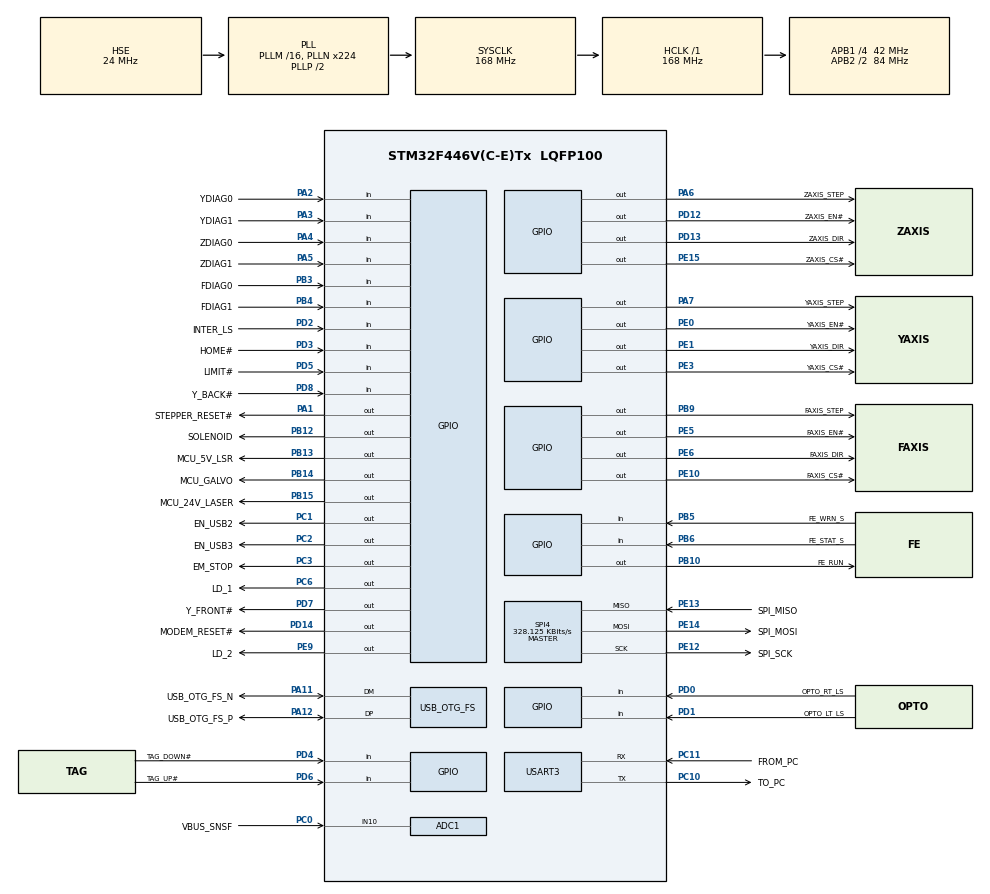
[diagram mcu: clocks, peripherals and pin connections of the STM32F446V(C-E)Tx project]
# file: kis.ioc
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ADC1.Channel-0\#ChannelRegularConversion=ADC_CHANNEL_10
ADC1.Channel-1\#ChannelRegularConversion=ADC_CHANNEL_10
ADC1.Channel-10\#ChannelRegularConversion=ADC_CHANNEL_10
ADC1.Channel-11\#ChannelRegularConversion=ADC_CHANNEL_10
ADC1.Channel-12\#ChannelRegularConversion=ADC_CHANNEL_10
ADC1.Channel-13\#ChannelRegularConversion=ADC_CHANNEL_TEMPSENSOR
ADC1.Channel-14\#ChannelRegularConversion=ADC_CHANNEL_VREFINT
ADC1.Channel-2\#ChannelRegularConversion=ADC_CHANNEL_TEMPSENSOR
ADC1.Channel-3\#ChannelRegularConversion=ADC_CHANNEL_TEMPSENSOR
ADC1.Channel-4\#ChannelRegularConversion=ADC_CHANNEL_VREFINT
ADC1.Channel-5\#ChannelRegularConversion=ADC_CHANNEL_10
ADC1.Channel-6\#ChannelRegularConversion=ADC_CHANNEL_10
ADC1.Channel-7\#ChannelRegularConversion=ADC_CHANNEL_10
ADC1.Channel-8\#ChannelRegularConversion=ADC_CHANNEL_TEMPSENSOR
ADC1.Channel-9\#ChannelRegularConversion=ADC_CHANNEL_VREFINT
ADC1.ClockPrescaler=ADC_CLOCK_SYNC_PCLK_DIV8
ADC1.ContinuousConvMode=ENABLE
ADC1.DMAContinuousRequests=ENABLE
ADC1.EOCSelection=ADC_EOC_SEQ_CONV
ADC1.NbrOfConversion=15
ADC1.NbrOfConversionFlag=1
ADC1.Rank-0\#ChannelRegularConversion=1
ADC1.Rank-1\#ChannelRegularConversion=2
ADC1.Rank-10\#ChannelRegularConversion=11
ADC1.Rank-11\#ChannelRegularConversion=12
ADC1.Rank-12\#ChannelRegularConversion=13
ADC1.Rank-13\#ChannelRegularConversion=14
ADC1.Rank-14\#ChannelRegularConversion=15
ADC1.Rank-2\#ChannelRegularConversion=3
ADC1.Rank-3\#ChannelRegularConversion=4
ADC1.Rank-4\#ChannelRegularConversion=5
ADC1.Rank-5\#ChannelRegularConversion=6
ADC1.Rank-6\#ChannelRegularConversion=7
ADC1.Rank-7\#ChannelRegularConversion=8
ADC1.Rank-8\#ChannelRegularConversion=9
ADC1.Rank-9\#ChannelRegularConversion=10
ADC1.SamplingTime-0\#ChannelRegularConversion=ADC_SAMPLETIME_480CYCLES
ADC1.SamplingTime-1\#ChannelRegularConversion=ADC_SAMPLETIME_480CYCLES
ADC1.SamplingTime-10\#ChannelRegularConversion=ADC_SAMPLETIME_480CYCLES
ADC1.SamplingTime-11\#ChannelRegularConversion=ADC_SAMPLETIME_480CYCLES
ADC1.SamplingTime-12\#ChannelRegularConversion=ADC_SAMPLETIME_480CYCLES
ADC1.SamplingTime-13\#ChannelRegularConversion=ADC_SAMPLETIME_480CYCLES
ADC1.SamplingTime-14\#ChannelRegularConversion=ADC_SAMPLETIME_480CYCLES
ADC1.SamplingTime-2\#ChannelRegularConversion=ADC_SAMPLETIME_480CYCLES
ADC1.SamplingTime-3\#ChannelRegularConversion=ADC_SAMPLETIME_480CYCLES
ADC1.SamplingTime-4\#ChannelRegularConversion=ADC_SAMPLETIME_480CYCLES
ADC1.SamplingTime-5\#ChannelRegularConversion=ADC_SAMPLETIME_480CYCLES
ADC1.SamplingTime-6\#ChannelRegularConversion=ADC_SAMPLETIME_480CYCLES
ADC1.SamplingTime-7\#ChannelRegularConversion=ADC_SAMPLETIME_480CYCLES
ADC1.SamplingTime-8\#ChannelRegularConversion=ADC_SAMPLETIME_480CYCLES
ADC1.SamplingTime-9\#ChannelRegularConversion=ADC_SAMPLETIME_480CYCLES
ADC1.ScanConvMode=ENABLE
ADC1.master=1
Dma.ADC1.2.Direction=DMA_PERIPH_TO_MEMORY
Dma.ADC1.2.FIFOMode=DMA_FIFOMODE_ENABLE
Dma.ADC1.2.FIFOThreshold=DMA_FIFO_THRESHOLD_FULL
Dma.ADC1.2.Instance=DMA2_Stream4
Dma.ADC1.2.MemBurst=DMA_MBURST_SINGLE
Dma.ADC1.2.MemDataAlignment=DMA_MDATAALIGN_HALFWORD
Dma.ADC1.2.MemInc=DMA_MINC_ENABLE
Dma.ADC1.2.Mode=DMA_CIRCULAR
Dma.ADC1.2.PeriphBurst=DMA_PBURST_SINGLE
Dma.ADC1.2.PeriphDataAlignment=DMA_PDATAALIGN_HALFWORD
Dma.ADC1.2.PeriphInc=DMA_PINC_DISABLE
Dma.ADC1.2.Priority=DMA_PRIORITY_VERY_HIGH
Dma.Request0=USART3_RX
Dma.Request1=USART3_TX
Dma.Request2=ADC1
Dma.Request3=SPI4_RX
Dma.Request4=SPI4_TX
Dma.SPI4_RX.3.Direction=DMA_PERIPH_TO_MEMORY
Dma.SPI4_RX.3.FIFOMode=DMA_FIFOMODE_ENABLE
Dma.SPI4_RX.3.FIFOThreshold=DMA_FIFO_THRESHOLD_FULL
Dma.SPI4_RX.3.Instance=DMA2_Stream0
Dma.SPI4_RX.3.MemBurst=DMA_MBURST_SINGLE
Dma.SPI4_RX.3.MemDataAlignment=DMA_MDATAALIGN_BYTE
Dma.SPI4_RX.3.MemInc=DMA_MINC_ENABLE
Dma.SPI4_RX.3.Mode=DMA_NORMAL
Dma.SPI4_RX.3.PeriphBurst=DMA_PBURST_SINGLE
Dma.SPI4_RX.3.PeriphDataAlignment=DMA_PDATAALIGN_BYTE
Dma.SPI4_RX.3.PeriphInc=DMA_PINC_DISABLE
Dma.SPI4_RX.3.Priority=DMA_PRIORITY_LOW
Dma.SPI4_TX.4.Direction=DMA_MEMORY_TO_PERIPH
Dma.SPI4_TX.4.FIFOMode=DMA_FIFOMODE_DISABLE
Dma.SPI4_TX.4.Instance=DMA2_Stream1
Dma.SPI4_TX.4.MemDataAlignment=DMA_MDATAALIGN_BYTE
Dma.SPI4_TX.4.MemInc=DMA_MINC_ENABLE
Dma.SPI4_TX.4.Mode=DMA_NORMAL
Dma.SPI4_TX.4.PeriphDataAlignment=DMA_PDATAALIGN_BYTE
Dma.SPI4_TX.4.PeriphInc=DMA_PINC_DISABLE
Dma.SPI4_TX.4.Priority=DMA_PRIORITY_LOW
Dma.USART3_RX.0.Direction=DMA_PERIPH_TO_MEMORY
Dma.USART3_RX.0.FIFOMode=DMA_FIFOMODE_DISABLE
Dma.USART3_RX.0.Instance=DMA1_Stream1
Dma.USART3_RX.0.MemDataAlignment=DMA_MDATAALIGN_BYTE
Dma.USART3_RX.0.MemInc=DMA_MINC_ENABLE
Dma.USART3_RX.0.Mode=DMA_NORMAL
Dma.USART3_RX.0.PeriphDataAlignment=DMA_PDATAALIGN_BYTE
Dma.USART3_RX.0.PeriphInc=DMA_PINC_DISABLE
Dma.USART3_RX.0.Priority=DMA_PRIORITY_LOW
Dma.USART3_TX.1.Direction=DMA_MEMORY_TO_PERIPH
Dma.USART3_TX.1.FIFOMode=DMA_FIFOMODE_DISABLE
Dma.USART3_TX.1.Instance=DMA1_Stream3
Dma.USART3_TX.1.MemDataAlignment=DMA_MDATAALIGN_BYTE
Dma.USART3_TX.1.MemInc=DMA_MINC_ENABLE
Dma.USART3_TX.1.Mode=DMA_NORMAL
Dma.USART3_TX.1.PeriphDataAlignment=DMA_PDATAALIGN_BYTE
Dma.USART3_TX.1.PeriphInc=DMA_PINC_DISABLE
Dma.USART3_TX.1.Priority=DMA_PRIORITY_LOW
Mcu.Family=STM32F4
Mcu.Name=STM32F446V(C-E)Tx
Mcu.Package=LQFP100
NVIC.DMA1_Stream1_IRQn=true\:3\:0\:true\:false\:true\:false\:true\:true
NVIC.DMA1_Stream3_IRQn=true\:3\:0\:true\:false\:true\:false\:true\:true
NVIC.DMA2_Stream0_IRQn=true\:0\:0\:true\:false\:true\:false\:true\:true
NVIC.DMA2_Stream1_IRQn=true\:0\:0\:false\:false\:true\:false\:true\:true
NVIC.DMA2_Stream4_IRQn=true\:8\:0\:false\:false\:true\:false\:true\:true
NVIC.OTG_FS_IRQn=true\:8\:0\:true\:false\:true\:false\:true\:true
NVIC.PriorityGroup=NVIC_PRIORITYGROUP_4
NVIC.SPI4_IRQn=true\:8\:0\:true\:false\:true\:true\:true\:true
NVIC.TIM6_DAC_IRQn=true\:0\:0\:false\:false\:true\:true\:true\:true
NVIC.USART3_IRQn=true\:3\:0\:true\:false\:true\:true\:true\:true
PA1.GPIO_Label=STEPPER_RESET\#
PA1.PinState=GPIO_PIN_SET
PA1.Signal=GPIO_Output
PA11.GPIO_Label=USB_OTG_FS_N
PA11.GPIO_Speed=GPIO_SPEED_FREQ_HIGH
PA11.Mode=Device_Only
PA11.Signal=USB_OTG_FS_DM
PA12.GPIO_Label=USB_OTG_FS_P
PA12.GPIO_Speed=GPIO_SPEED_FREQ_HIGH
PA12.Mode=Device_Only
PA12.Signal=USB_OTG_FS_DP
PA13.GPIO_Label=SWDIO
PA13.Mode=Serial_Wire
PA13.Signal=SYS_JTMS-SWDIO
PA14.GPIO_Label=SWCLK
PA14.Mode=Serial_Wire
PA14.Signal=SYS_JTCK-SWCLK
PA2.GPIO_Label=YDIAG0
PA2.GPIO_PuPd=GPIO_PULLUP
PA2.Signal=GPIO_Input
PA3.GPIO_Label=YDIAG1
PA3.GPIO_PuPd=GPIO_PULLUP
PA3.Signal=GPIO_Input
PA4.GPIO_Label=ZDIAG0
PA4.GPIO_PuPd=GPIO_PULLUP
PA4.Signal=GPIO_Input
PA5.GPIO_Label=ZDIAG1
PA5.GPIO_PuPd=GPIO_PULLUP
PA5.Signal=GPIO_Input
PA6.GPIO_Label=ZAXIS_STEP
PA6.Signal=GPIO_Output
PA7.GPIO_Label=YAXIS_STEP
PA7.Signal=GPIO_Output
PA9.GPIO_Label=USB_VBUS
PA9.Signal=USB_OTG_FS_VBUS
PB10.GPIO_Label=FE_RUN
PB10.Signal=GPIO_Output
PB12.GPIO_Label=SOLENOID
PB12.PinState=GPIO_PIN_SET
PB12.Signal=GPIO_Output
PB13.GPIO_Label=MCU_5V_LSR
PB13.PinState=GPIO_PIN_SET
PB13.Signal=GPIO_Output
PB14.GPIO_Label=MCU_GALVO
PB14.PinState=GPIO_PIN_SET
PB14.Signal=GPIO_Output
PB15.GPIO_Label=MCU_24V_LASER
PB15.PinState=GPIO_PIN_SET
PB15.Signal=GPIO_Output
PB3.GPIO_Label=FDIAG0
PB3.GPIO_PuPd=GPIO_PULLUP
PB3.Signal=GPIO_Input
PB4.GPIO_Label=FDIAG1
PB4.GPIO_PuPd=GPIO_PULLUP
PB4.Signal=GPIO_Input
PB5.GPIO_Label=FE_WRN_S
PB5.GPIO_PuPd=GPIO_PULLUP
PB5.Signal=GPIO_Input
PB6.GPIO_Label=FE_STAT_S
PB6.GPIO_PuPd=GPIO_PULLUP
PB6.Signal=GPIO_Input
PB9.GPIO_Label=FAXIS_STEP
PB9.Signal=GPIO_Output
PC0.GPIO_Label=VBUS_SNSF
PC0.Signal=ADCx_IN10
PC1.GPIO_Label=EN_USB2
PC1.PinState=GPIO_PIN_SET
PC1.Signal=GPIO_Output
PC10.GPIO_Label=TO_PC
PC10.GPIO_PuPd=GPIO_PULLUP
PC10.GPIO_Speed=GPIO_SPEED_FREQ_LOW
PC10.Mode=Asynchronous
PC10.Signal=USART3_TX
PC11.GPIO_Label=FROM_PC
PC11.GPIO_PuPd=GPIO_PULLUP
PC11.GPIO_Speed=GPIO_SPEED_FREQ_LOW
PC11.Mode=Asynchronous
PC11.Signal=USART3_RX
PC14-OSC32_IN.GPIO_Label=OSC32K_IN
PC14-OSC32_IN.Mode=LSE-External-Oscillator
PC14-OSC32_IN.Signal=RCC_OSC32_IN
PC15-OSC32_OUT.GPIO_Label=OSC32K_O
PC15-OSC32_OUT.Mode=LSE-External-Oscillator
PC15-OSC32_OUT.Signal=RCC_OSC32_OUT
PC2.GPIO_Label=EN_USB3
PC2.PinState=GPIO_PIN_SET
PC2.Signal=GPIO_Output
PC3.GPIO_Label=EM_STOP
PC3.PinState=GPIO_PIN_RESET
PC3.Signal=GPIO_Output
PC6.GPIO_Label=LD_1
PC6.Signal=GPIO_Output
PD0.GPIO_Label=OPTO_RT_LS
PD0.Signal=GPIO_Input
PD1.GPIO_Label=OPTO_LT_LS
PD1.Signal=GPIO_Input
PD12.GPIO_Label=ZAXIS_EN\#
PD12.PinState=GPIO_PIN_SET
PD12.Signal=GPIO_Output
PD13.GPIO_Label=ZAXIS_DIR
PD13.Signal=GPIO_Output
PD14.GPIO_Label=MODEM_RESET\#
PD14.PinState=GPIO_PIN_SET
PD14.Signal=GPIO_Output
PD2.GPIO_Label=INTER_LS
PD2.Signal=GPIO_Input
PD3.GPIO_Label=HOME\#
PD3.Signal=GPIO_Input
PD4.GPIO_Label=TAG_DOWN\#
PD4.Signal=GPIO_Input
PD5.GPIO_Label=LIMIT\#
PD5.Signal=GPIO_Input
PD6.GPIO_Label=TAG_UP\#
PD6.Signal=GPIO_Input
PD7.GPIO_Label=Y_FRONT\#
PD7.Signal=GPIO_Output
PD8.GPIO_Label=Y_BACK\#
PD8.Signal=GPIO_Input
PE0.GPIO_Label=YAXIS_EN\#
PE0.PinState=GPIO_PIN_SET
PE0.Signal=GPIO_Output
PE1.GPIO_Label=YAXIS_DIR
PE1.Signal=GPIO_Output
PE10.GPIO_Label=FAXIS_CS\#
PE10.PinState=GPIO_PIN_SET
PE10.Signal=GPIO_Output
PE12.GPIO_Label=SPI_SCK
PE12.GPIO_Speed=GPIO_SPEED_FREQ_MEDIUM
PE12.Mode=Full_Duplex_Master
PE12.Signal=SPI4_SCK
PE13.GPIO_Label=SPI_MISO
PE13.GPIO_Speed=GPIO_SPEED_FREQ_MEDIUM
PE13.Mode=Full_Duplex_Master
PE13.Signal=SPI4_MISO
PE14.GPIO_Label=SPI_MOSI
PE14.GPIO_Speed=GPIO_SPEED_FREQ_MEDIUM
PE14.Mode=Full_Duplex_Master
PE14.Signal=SPI4_MOSI
PE15.GPIO_Label=ZAXIS_CS\#
PE15.PinState=GPIO_PIN_SET
PE15.Signal=GPIO_Output
PE3.GPIO_Label=YAXIS_CS\#
PE3.PinState=GPIO_PIN_SET
PE3.Signal=GPIO_Output
PE5.GPIO_Label=FAXIS_EN\#
PE5.PinState=GPIO_PIN_SET
PE5.Signal=GPIO_Output
PE6.GPIO_Label=FAXIS_DIR
PE6.Signal=GPIO_Output
PE9.GPIO_Label=LD_2
PE9.Signal=GPIO_Output
PH0-OSC_IN.GPIO_Label=OSC24M_I
PH0-OSC_IN.Mode=HSE-External-Oscillator
PH0-OSC_IN.Signal=RCC_OSC_IN
PH1-OSC_OUT.GPIO_Label=OSC24M_O
PH1-OSC_OUT.Mode=HSE-External-Oscillator
PH1-OSC_OUT.Signal=RCC_OSC_OUT
ProjectManager.HeapSize=0x200
ProjectManager.StackSize=0x400
ProjectManager.TargetToolchain=STM32CubeIDE
RCC.AHBFreq_Value=168000000
RCC.APB1CLKDivider=RCC_HCLK_DIV4
RCC.APB1Freq_Value=42000000
RCC.APB1TimFreq_Value=84000000
RCC.APB2CLKDivider=RCC_HCLK_DIV2
RCC.APB2Freq_Value=84000000
RCC.APB2TimFreq_Value=168000000
RCC.CortexFreq_Value=168000000
RCC.HCLKFreq_Value=168000000
RCC.HSE_VALUE=24000000
RCC.PLLN=224
RCC.PLLQ=7
RCC.PLLSourceVirtual=RCC_PLLSOURCE_HSE
RCC.RCC_RTC_Clock_SourceVirtual=RCC_RTCCLKSOURCE_LSE
RCC.SYSCLKFreq_VALUE=168000000
RCC.SYSCLKSource=RCC_SYSCLKSOURCE_PLLCLK
RCC.USBFreq_Value=48000000
RCC.VCOOutputFreq_Value=336000000
RTC.Date=4
RTC.Month=RTC_MONTH_DECEMBER
RTC.Year=18
SH.ADCx_IN10.0=ADC1_IN10,IN10
SPI4.BaudRatePrescaler=SPI_BAUDRATEPRESCALER_256
SPI4.CLKPhase=SPI_PHASE_2EDGE
SPI4.CLKPolarity=SPI_POLARITY_HIGH
SPI4.CalculateBaudRate=328.125 KBits/s
SPI4.Direction=SPI_DIRECTION_2LINES
SPI4.Mode=SPI_MODE_MASTER
SPI4.VirtualType=VM_MASTER
TIM1.Period=104
TIM1.Prescaler=1
TIM10.Period=399
TIM10.Prescaler=83
TIM11.Period=4200
TIM11.Prescaler=168
TIM13.ClockDivision=TIM_CLOCKDIVISION_DIV1
TIM13.Period=4200
TIM13.Prescaler=168
TIM14.ClockDivision=TIM_CLOCKDIVISION_DIV1
TIM14.Period=4200
TIM14.Prescaler=168
TIM6.Period=79
TIM6.Prescaler=40
TIM7.Period=0xffff
TIM7.Prescaler=256
TIM8.Period=104
TIM8.Prescaler=1
USART3.VirtualMode=VM_ASYNC
USB_DEVICE.CLASS_NAME_FS=HID
USB_DEVICE.HID_FS_BINTERVAL=1
USB_DEVICE.PID_HID_FS=0x8002
USB_DEVICE.USBD_DEBUG_LEVEL-HID_FS=0
USB_DEVICE.USBD_LPM_ENABLED-HID_FS=0
USB_DEVICE.VID-HID_FS=0x1fc9
USB_DEVICE.VirtualMode-HID_FS=Hid
USB_DEVICE.VirtualModeFS=Hid_FS
USB_OTG_FS.Sof_enable=ENABLE
USB_OTG_FS.VirtualMode=Device_Only
VP_ADC1_TempSens_Input.Mode=IN-TempSens
VP_ADC1_Vref_Input.Mode=IN-Vrefint
VP_CRC_VS_CRC.Mode=CRC_Activate
VP_IWDG_VS_IWDG.Mode=IWDG_Activate
VP_RTC_VS_RTC_Activate.Mode=RTC_Enabled
VP_RTC_VS_RTC_Calendar.Mode=RTC_Calendar
VP_TIM10_VS_ClockSourceINT.Mode=Enable_Timer
VP_TIM11_VS_ClockSourceINT.Mode=Enable_Timer
VP_TIM13_VS_ClockSourceINT.Mode=Enable_Timer
VP_TIM14_VS_ClockSourceINT.Mode=Enable_Timer
VP_TIM1_VS_ClockSourceINT.Mode=Internal
VP_TIM6_VS_ClockSourceINT.Mode=Enable_Timer
VP_TIM7_VS_ClockSourceINT.Mode=Enable_Timer
VP_TIM8_VS_ClockSourceINT.Mode=Internal
VP_USB_DEVICE_VS_USB_DEVICE_HID_FS.Mode=HID_FS
board=custom

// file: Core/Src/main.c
/* USER CODE BEGIN Header */
/**
  ******************************************************************************
  * @file           : main.c
  * @brief          : Main program body
  ******************************************************************************
  * @attention
  *
  * Copyright (c) 2022 STMicroelectronics.
  * All rights reserved.
  *
  * This software is licensed under terms that can be found in the LICENSE file
  * in the root directory of this software component.
  * If no LICENSE file comes with this software, it is provided AS-IS.
  *
  ******************************************************************************
  */
/* USER CODE END Header */
#include "main.h"
#include "adc.h"
#include "crc.h"
#include "dma.h"
#include "iwdg.h"
#include "rtc.h"
#include "spi.h"
#include "tim.h"
#include "usart.h"
#include "usb_device.h"
#include "gpio.h"

#include "GPIOHandler.h"
#include "kisPackets.h"

/* USER CODE BEGIN Includes */
#include "loop.h"
/* USER CODE END Includes */

/* USER CODE BEGIN PV */
extern TIM_HandleTypeDef htim3;

/* USER CODE END PV */

void SystemClock_Config(void);

/* USER CODE BEGIN 0 */
void JumpToBootloader(void) {
    void (*SysMemBootJump)(void);

    /**
     * Step: Set system memory address.
     *
     *       For STM32F429, system memory is on 0x1FFF 0000
     *       For other families, check AN2606 document table 110 with descriptions of memory addresses
     */
    volatile uint32_t addr = 0x1FFF0000;

    /**
     * Step: Disable RCC, set it to default (after reset) settings
     *       Internal clock, no PLL, etc.
     */
    HAL_RCC_DeInit();
    HAL_DeInit(); // add by ctien

    /**
     * Step: Disable systick timer and reset it to default values
     */
    SysTick->CTRL = 0;
    SysTick->LOAD = 0;
    SysTick->VAL = 0;

    /**
     * Step: Disable all interrupts
     */
//    __disable_irq(); // changed by ctien

    /**
     * Step: Remap system memory to address 0x0000 0000 in address space
     *       For each family registers may be different.
     *       Check reference manual for each family.
     *
     *       For STM32F4xx, MEMRMP register in SYSCFG is used (bits[1:0])
     *       For STM32F0xx, CFGR1 register in SYSCFG is used (bits[1:0])
     *       For others, check family reference manual
     */
    //Remap by hand... {
#if defined(STM32F4)
    SYSCFG->MEMRMP = 0x01;
#endif
#if defined(STM32F0)
    SYSCFG->CFGR1 = 0x01;
#endif
    //} ...or if you use HAL drivers
    //__HAL_SYSCFG_REMAPMEMORY_SYSTEMFLASH();    //Call HAL macro to do this for you

    /**
     * Step: Set jump memory location for system memory
     *       Use address with 4 bytes offset which specifies jump location where program starts
     */
    SysMemBootJump = (void (*)(void)) (*((uint32_t *)(addr + 4)));

    /**
     * Step: Set main stack pointer.
     *       This step must be done last otherwise local variables in this function
     *       don't have proper value since stack pointer is located on different position
     *
     *       Set direct address location which specifies stack pointer in SRAM location
     */
    __set_MSP(*(uint32_t *)addr);

    /**
     * Step: Actually call our function to jump to set location
     *       This will start system memory execution
     */
    SysMemBootJump();

    /**
     * Step: Connect USB<->UART converter to dedicated USART pins and test
     *       and test with bootloader works with STM32 STM32 Cube Programmer
     */
}
/* USER CODE END 0 */

int main(void)
{

  /* MCU Configuration--------------------------------------------------------*/

  /* Reset of all peripherals, Initializes the Flash interface and the Systick. */
  HAL_Init();

  /* Configure the system clock */
  SystemClock_Config();

  /* Initialize all configured peripherals */
  MX_GPIO_Init();
  MX_DMA_Init();
  MX_RTC_Init();
  MX_ADC1_Init();
  MX_SPI4_Init();
  MX_TIM10_Init();
  MX_TIM11_Init();
  MX_TIM13_Init();
  MX_TIM14_Init();
  MX_USART3_UART_Init();
  MX_CRC_Init();
  // MX_IWDG_Init();
  MX_USB_DEVICE_Init();
  MX_TIM6_Init();
  MX_TIM7_Init();
  MX_TIM1_Init();
  MX_TIM8_Init();
  /* USER CODE BEGIN 2 */
  tim3_init();
  setup();

  //Start PWM for LED's
  if((HAL_TIM_PWM_Start(&htim3, TIM_CHANNEL_1)!= HAL_OK))
	{
	  Error_Handler();
	}
  if((HAL_TIM_PWM_Start(&htim3, TIM_CHANNEL_2)!= HAL_OK))
	{
	  Error_Handler();
	}

//  MX_IWDG_Init();
  //extern IWDG_HandleTypeDef hiwdg;

  /* USER CODE END 2 */

  /* Infinite loop */
  /* USER CODE BEGIN WHILE */
  while (1)
  {
    // If we want to break the loop, jump to the bootloader
	  if(!loop())
    {
      JumpToBootloader();
    }
    /* USER CODE END WHILE */

    /* USER CODE BEGIN 3 */
//	 HAL_IWDG_Refresh(&hiwdg);
//
//	 HAL_Delay(50);

  }
  /* USER CODE END 3 */
}

void SystemClock_Config(void)
{
  RCC_OscInitTypeDef RCC_OscInitStruct = {0};
  RCC_ClkInitTypeDef RCC_ClkInitStruct = {0};

  /** Configure the main internal regulator output voltage
  */
  __HAL_RCC_PWR_CLK_ENABLE();
  __HAL_PWR_VOLTAGESCALING_CONFIG(PWR_REGULATOR_VOLTAGE_SCALE1);

  /** Initializes the RCC Oscillators according to the specified parameters
  * in the RCC_OscInitTypeDef structure.
  */
  RCC_OscInitStruct.OscillatorType = RCC_OSCILLATORTYPE_LSI|RCC_OSCILLATORTYPE_HSE
                              |RCC_OSCILLATORTYPE_LSE;
  RCC_OscInitStruct.HSEState = RCC_HSE_ON;
  RCC_OscInitStruct.LSEState = RCC_LSE_ON;
  RCC_OscInitStruct.LSIState = RCC_LSI_ON;
  RCC_OscInitStruct.PLL.PLLState = RCC_PLL_ON;
  RCC_OscInitStruct.PLL.PLLSource = RCC_PLLSOURCE_HSE;
  RCC_OscInitStruct.PLL.PLLM = 16;
  RCC_OscInitStruct.PLL.PLLN = 224;
  RCC_OscInitStruct.PLL.PLLP = RCC_PLLP_DIV2;
  RCC_OscInitStruct.PLL.PLLQ = 7;
  RCC_OscInitStruct.PLL.PLLR = 2;
  if (HAL_RCC_OscConfig(&RCC_OscInitStruct) != HAL_OK)
  {
    Error_Handler();
  }

  /** Initializes the CPU, AHB and APB buses clocks
  */
  RCC_ClkInitStruct.ClockType = RCC_CLOCKTYPE_HCLK|RCC_CLOCKTYPE_SYSCLK
                              |RCC_CLOCKTYPE_PCLK1|RCC_CLOCKTYPE_PCLK2;
  RCC_ClkInitStruct.SYSCLKSource = RCC_SYSCLKSOURCE_PLLCLK;
  RCC_ClkInitStruct.AHBCLKDivider = RCC_SYSCLK_DIV1;
  RCC_ClkInitStruct.APB1CLKDivider = RCC_HCLK_DIV4;
  RCC_ClkInitStruct.APB2CLKDivider = RCC_HCLK_DIV2;

  if (HAL_RCC_ClockConfig(&RCC_ClkInitStruct, FLASH_LATENCY_5) != HAL_OK)
  {
    Error_Handler();
  }
}

void Error_Handler(void)
{
  __disable_irq();
  while (1)
  {
  }
}
